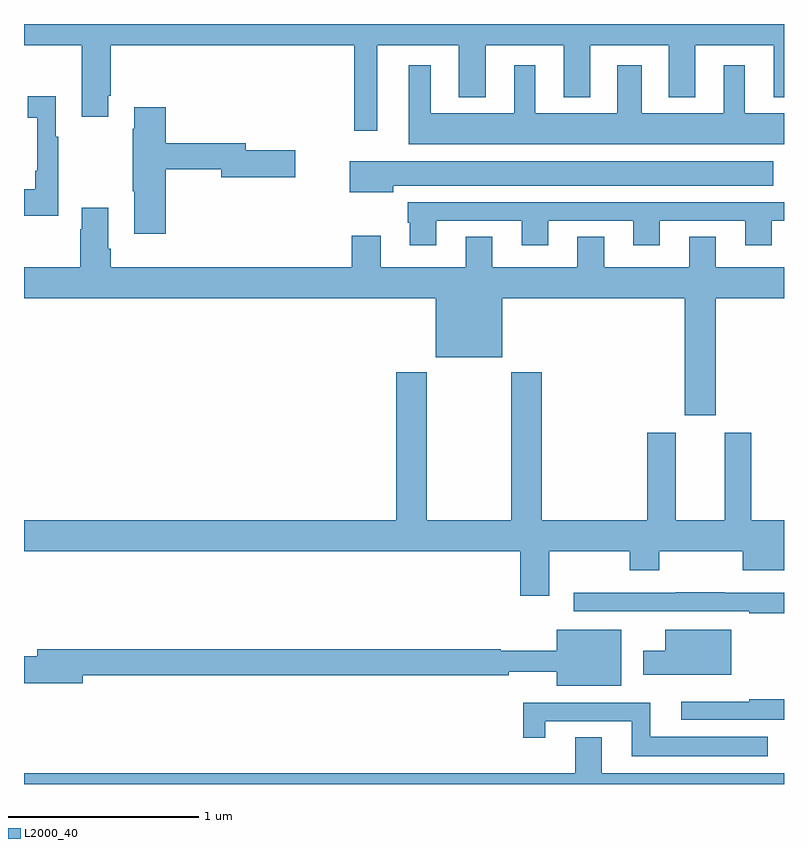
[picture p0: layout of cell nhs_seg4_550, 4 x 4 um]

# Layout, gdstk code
import gdstk
lib = gdstk.Library(unit=1e-6, precision=1e-09)
def P(c, l, *ps):  # polygons
    for p in ps: c.add(gdstk.Polygon(p, *l))
L2000_40 = (2000, 40)

nhs_seg4_550 = lib.new_cell('nhs_seg4_550')
P(nhs_seg4_550, L2000_40, [(138.859,828.788),(139.289,828.788),(139.289,828.515),(139.429,828.515),(139.429,828.788),(139.841,828.788),(139.841,828.515),(139.981,828.515),(139.981,828.788),(140.393,828.788),(140.393,828.515),(140.533,828.515),(140.533,828.788),(140.945,828.788),(140.945,828.515),(141,828.515),(141,828.9),(137,828.9),(137,828.788),(137.303,828.788),(137.303,828.411),(137.443,828.411),(137.443,828.523),(137.456,828.523),(137.456,828.788),(138.738,828.788),(138.738,828.339),(138.859,828.339)],
  [(141,828.43),(140.794,828.43),(140.794,828.682),(140.684,828.682),(140.684,828.43),(140.251,828.43),(140.251,828.682),(140.123,828.682),(140.123,828.43),(139.69,828.43),(139.69,828.682),(139.58,828.682),(139.58,828.43),(139.141,828.43),(139.141,828.682),(139.025,828.682),(139.025,828.266),(141,828.266)],
  [(137.179,828.307),(137.167,828.307),(137.167,828.52),(137.019,828.52),(137.019,828.407),(137.07,828.407),(137.07,828.127),(137.058,828.127),(137.058,828.031),(137,828.031),(137,827.891),(137.179,827.891)],
  [(137.747,828.136),(138.038,828.136),(138.038,828.094),(138.427,828.094),(138.427,828.236),(138.166,828.236),(138.166,828.272),(137.747,828.272),(137.747,828.463),(137.579,828.463),(137.579,828.35),(137.572,828.35),(137.572,828.019),(137.579,828.019),(137.579,827.796),(137.747,827.796)],
  [(138.943,828.05),(140.944,828.05),(140.944,828.178),(138.714,828.178),(138.714,828.014),(138.943,828.014)],
  [(139.171,827.865),(139.619,827.865),(139.619,827.736),(139.759,827.736),(139.759,827.865),(140.207,827.865),(140.207,827.736),(140.347,827.736),(140.347,827.865),(140.795,827.865),(140.795,827.736),(140.935,827.736),(140.935,827.865),(141,827.865),(141,827.961),(139.019,827.961),(139.019,827.853),(139.031,827.853),(139.031,827.736),(139.171,827.736)],
  [(140.641,827.456),(141,827.456),(141,827.62),(140.641,827.62),(140.641,827.78),(140.501,827.78),(140.501,827.62),(140.053,827.62),(140.053,827.78),(139.913,827.78),(139.913,827.62),(139.465,827.62),(139.465,827.78),(139.325,827.78),(139.325,827.62),(138.877,827.62),(138.877,827.785),(138.725,827.785),(138.725,827.62),(137.456,827.62),(137.456,827.716),(137.443,827.716),(137.443,827.932),(137.303,827.932),(137.303,827.819),(137.296,827.819),(137.296,827.62),(137,827.62),(137,827.456),(139.166,827.456),(139.166,827.147),(139.516,827.147),(139.516,827.456),(140.477,827.456),(140.477,826.842),(140.641,826.842)],
  [(139.765,826.124),(140.188,826.124),(140.188,826.025),(140.343,826.025),(140.343,826.124),(140.783,826.124),(140.783,826.025),(141,826.025),(141,826.288),(140.827,826.288),(140.827,826.75),(140.687,826.75),(140.687,826.288),(140.431,826.288),(140.431,826.75),(140.279,826.75),(140.279,826.288),(139.724,826.288),(139.724,827.068),(139.564,827.068),(139.564,826.288),(139.119,826.288),(139.119,827.068),(138.959,827.068),(138.959,826.288),(137,826.288),(137,826.124),(139.613,826.124),(139.613,825.891),(139.765,825.891)],
  [(141,825.906),(140.687,825.906),(140.687,825.908),(140.431,825.908),(140.431,825.906),(139.893,825.906),(139.893,825.81),(140.818,825.81),(140.818,825.798),(141,825.798)],
  [(140.722,825.712),(140.375,825.712),(140.375,825.601),(140.258,825.601),(140.258,825.476),(140.722,825.476)],
  [(140.143,825.712),(139.805,825.712),(139.805,825.601),(139.509,825.601),(139.509,825.608),(137.069,825.608),(137.069,825.572),(137,825.572),(137,825.43),(137.308,825.43),(137.308,825.472),(139.55,825.472),(139.55,825.491),(139.805,825.491),(139.805,825.416),(140.143,825.416)],
  [(141,825.346),(140.818,825.346),(140.818,825.334),(140.46,825.334),(140.46,825.237),(141,825.237)],
  [(140.914,825.148),(140.296,825.148),(140.296,825.327),(139.627,825.327),(139.627,825.144),(139.744,825.144),(139.744,825.231),(140.198,825.231),(140.198,825.047),(140.914,825.047)],
  [(141,824.956),(140.041,824.956),(140.041,825.146),(139.901,825.146),(139.901,824.956),(137,824.956),(137,824.9),(141,824.9)])

lib.write_gds('nhs_seg4_550.gds')
